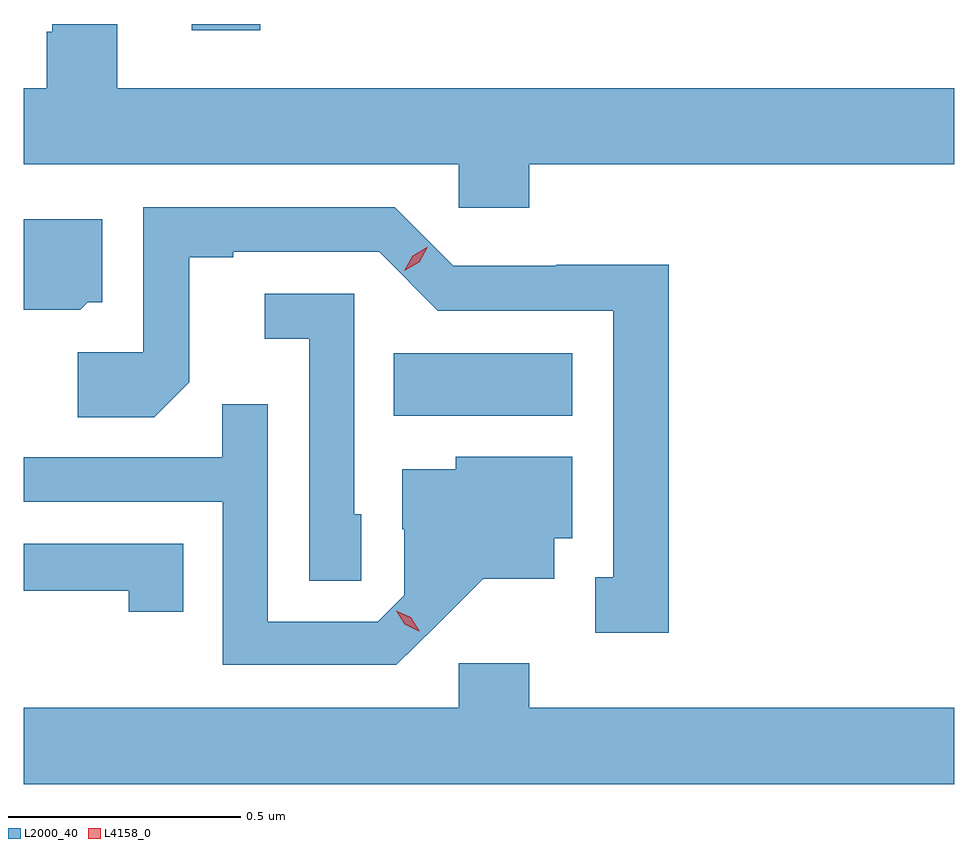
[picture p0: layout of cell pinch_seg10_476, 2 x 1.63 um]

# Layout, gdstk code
import gdstk
lib = gdstk.Library(unit=1e-6, precision=1e-09)
def R(c, l, rs):  # rectangles x0, y0, x1, y1
    for r in rs: c.add(gdstk.rectangle(r[:2], r[2:], *l))
def P(c, l, *ps):  # polygons
    for p in ps: c.add(gdstk.Polygon(p, *l))
L2000_40 = (2000, 40)
L4158_0 = (4158, 0)

pinch_seg10_476 = lib.new_cell('pinch_seg10_476')
R(pinch_seg10_476, L2000_40, [(352.486,1301.108,352.87,1301.242), (352.052,1301.937,352.199,1301.95)])
P(pinch_seg10_476, L2000_40, [(351.892,1301.95),(351.752,1301.95),(351.752,1301.933),(351.74,1301.933),(351.74,1301.812),(351.691,1301.812),(351.691,1301.648),(352.626,1301.648),(352.626,1301.555),(352.778,1301.555),(352.778,1301.648),(353.691,1301.648),(353.691,1301.812),(351.892,1301.812)],
  [(353.077,1301.432),(352.836,1301.432),(352.836,1301.43),(352.614,1301.43),(352.488,1301.556),(351.948,1301.556),(351.948,1301.244),(351.807,1301.244),(351.807,1301.104),(351.971,1301.104),(352.047,1301.18),(352.047,1301.448),(352.141,1301.448),(352.141,1301.46),(352.455,1301.46),(352.581,1301.334),(352.958,1301.334),(352.958,1300.761),(352.919,1300.761),(352.919,1300.641),(353.077,1300.641)],
  [(351.828,1301.352),(351.859,1301.352),(351.859,1301.53),(351.691,1301.53),(351.691,1301.336),(351.812,1301.336)],
  [(352.416,1300.896),(352.401,1300.896),(352.401,1301.37),(352.209,1301.37),(352.209,1301.273),(352.305,1301.273),(352.305,1300.753),(352.416,1300.753)],
  [(352.576,1300.655),(352.679,1300.757),(352.831,1300.757),(352.831,1300.844),(352.87,1300.844),(352.87,1301.02),(352.62,1301.02),(352.62,1300.993),(352.505,1300.993),(352.505,1300.864),(352.509,1300.864),(352.509,1300.722),(352.452,1300.665),(352.215,1300.665),(352.215,1301.132),(352.117,1301.132),(352.117,1301.019),(351.691,1301.019),(351.691,1300.923),(352.119,1300.923),(352.119,1300.572),(352.492,1300.572)],
  [(352.034,1300.833),(351.691,1300.833),(351.691,1300.732),(351.916,1300.732),(351.916,1300.686),(352.034,1300.686)],
  [(353.691,1300.48),(352.778,1300.48),(352.778,1300.576),(352.626,1300.576),(352.626,1300.48),(351.691,1300.48),(351.691,1300.316),(353.691,1300.316)])
P(pinch_seg10_476, L4158_0, [(352.509,1301.419),(352.509,1301.419),(352.527,1301.452),(352.559,1301.471),(352.559,1301.471),(352.559,1301.471),(352.541,1301.438),(352.509,1301.419)],
  [(352.54,1300.644),(352.51,1300.659),(352.492,1300.688),(352.492,1300.688),(352.492,1300.688),(352.523,1300.674),(352.541,1300.645),(352.541,1300.644)])

lib.write_gds('pinch_seg10_476.gds')
